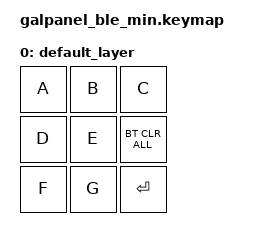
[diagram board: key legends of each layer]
/* GALPANEL BLE MIN: real keys, stock ZMK BLE HID, no custom GALPANEL logic. */

#include <behaviors.dtsi>
#include <dt-bindings/zmk/bt.h>
#include <dt-bindings/zmk/keys.h>

/ {
    keymap {
        compatible = "zmk,keymap";

        default_layer {
            bindings = <
                &kp A &kp B &kp C
                &kp D &kp E &bt BT_CLR_ALL
                &kp F &kp G &kp ENTER
            >;
        };
    };
};
